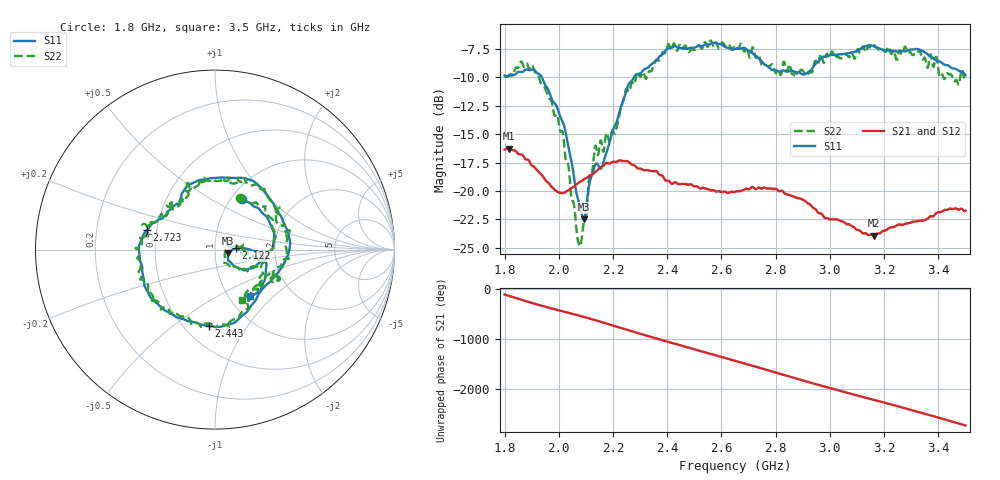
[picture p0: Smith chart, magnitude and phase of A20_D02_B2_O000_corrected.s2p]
! Created with skrf 1.9.0 (http://scikit-rf.org).
# Hz S RI R 50.0
!freq ReS11 ImS11 ReS21 ImS21 ReS12 ImS12 ReS22 ImS22
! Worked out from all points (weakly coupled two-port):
!   1601 points, 1.8 GHz to 3.5 GHz, reference 50 ohm
!   highest |S21| = -16.29 dB at 1.816 GHz (marker M1); lowest = -23.9 dB at 3.163 GHz (marker M2)
!   lowest |S11| = -22.5 dB at 2.091 GHz (marker M3), VSWR 1.16, Z = 57.7 - j2.47 ohm
!   |S11| at or under -10 dB: 1.937 GHz to 2.278 GHz (340.8 MHz wide, 16.2 % of centre)
!   |S22| runs from -24.8 to -6.8 dB; largest |S21 - S12| = 0.0026
!   S11 on the Smith chart (normalised r, x): 1.8 GHz: 1.12, +0.71; 2.122 GHz: 1.26, +0.02; 2.443 GHz: 0.66, -0.68; 2.723 GHz: 0.44, +0.11; 3.5 GHz: 1.26, -0.72
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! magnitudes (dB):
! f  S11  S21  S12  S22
! 1.8 GHz  -9.9  -16.4  -16.4  -10.0
! 1.816 GHz  -9.8  -16.3  -16.3  -9.9
! 1.902 GHz  -9.3  -17.8  -17.7  -9.0
! 1.968 GHz  -11.5  -19.5  -19.5  -12.0
! 2.02 GHz  -14.3  -20.1  -20.1  -15.9
! 2.071 GHz  -20.7  -19.3  -19.3  -24.4
! 2.084 GHz  -22.0  -19.1  -19.1  -24.3
! 2.091 GHz  -22.5  -19.0  -19.0  -22.9
! 2.122 GHz  -18.6  -18.6  -18.5  -18.5
! 2.161 GHz  -17.8  -17.8  -17.8  -16.3
! 2.209 GHz  -14.2  -17.5  -17.4  -14.8
! 2.259 GHz  -10.6  -17.5  -17.5  -11.3
! 2.367 GHz  -8.3  -18.5  -18.4  -8.5
! 2.443 GHz  -7.4  -19.4  -19.4  -7.3
! 2.65 GHz  -7.5  -20.1  -20.0  -7.2
! 2.723 GHz  -8.1  -19.8  -19.7  -8.1
! 2.812 GHz  -9.5  -20.0  -19.9  -9.4
! 2.934 GHz  -9.3  -21.4  -21.4  -9.6
! 3.163 GHz  -7.3  -23.9  -23.9  -7.2
! 3.217 GHz  -7.7  -23.3  -23.3  -7.4
! 3.328 GHz  -7.6  -22.6  -22.6  -7.7
! 3.5 GHz  -9.8  -21.7  -21.7  -10.0
